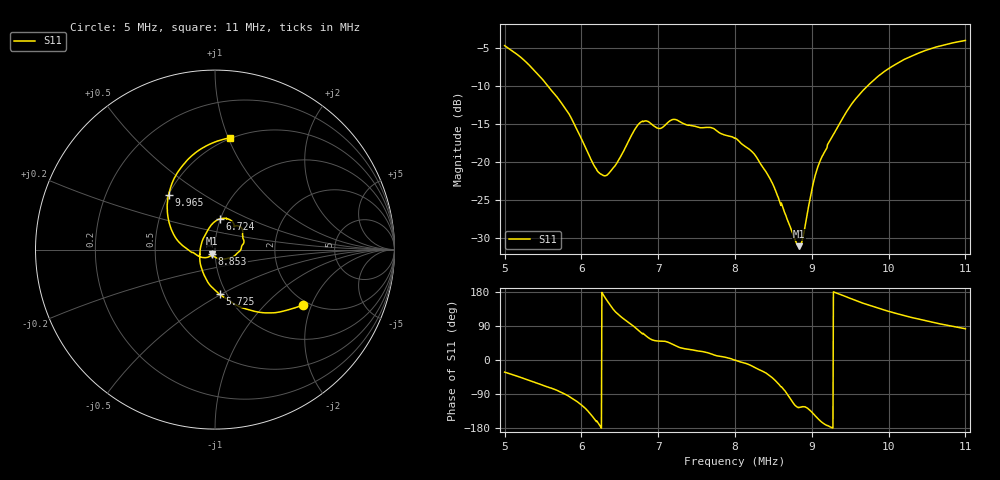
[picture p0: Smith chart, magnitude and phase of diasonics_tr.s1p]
# Hz S RI R 50
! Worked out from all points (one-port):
!   1010 points, 5 MHz to 11 MHz, reference 50 ohm
!   lowest |S11| = -31.1 dB at 8.829 MHz (marker M1), VSWR 1.06, Z = 48.4 - j2.22 ohm
!   |S11| at or under -10 dB: 5.561 MHz to 9.726 MHz (4.165 MHz wide, 54.5 % of centre)
!   S11 on the Smith chart (normalised r, x): 5 MHz: 1.88, -1.75; 5.725 MHz: 0.93, -0.49; 6.724 MHz: 0.99, +0.35; 8.853 MHz: 0.97, -0.05; 9.965 MHz: 0.50, +0.36; 11 MHz: 0.49, +1.01
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5000000  0.4926 -0.3073
5315100  0.2573 -0.3507
5725346  0.0256 -0.2485
5755046  0.0129 -0.2373
5986946  -0.0656 -0.1312
6230792  -0.0835 -0.0149
6337792  -0.0748 0.034
6504292  -0.0466 0.0963
6724292  0.0252 0.1702
6843238  0.0836 0.1662
7021638  0.1067 0.1272
7253438  0.1539 0.1068
8002730  0.1437 -0.000721
8234530  0.1099 -0.0342
8418930  0.0673 -0.0499
8751876  -0.0125 -0.0315
8829176  -0.0161 -0.0229
8852976  -0.0161 -0.0236
8894576  -0.0186 -0.0282
9013476  -0.0545 -0.0449
9084876  -0.0865 -0.0388
9233522  -0.1373 -0.00956
9501122  -0.2224 0.07
9732922  -0.2619 0.1814
9964868  -0.2589 0.3038
1.025027e7  -0.2021 0.4396
1.061891e7  -0.0737 0.5639
1.099951e7  0.0818 0.6224
